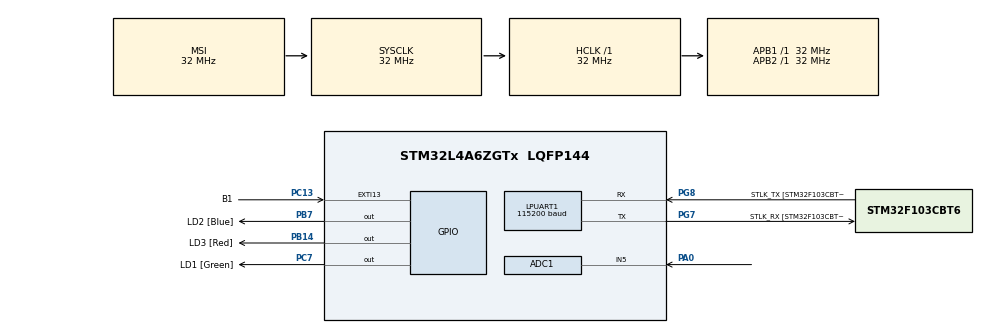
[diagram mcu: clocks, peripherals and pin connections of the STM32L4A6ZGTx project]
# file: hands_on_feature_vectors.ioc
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ADC1.Channel-0\#ChannelRegularConversion=ADC_CHANNEL_5
ADC1.DMAContinuousRequests=ENABLE
ADC1.ExternalTrigConv=ADC_EXTERNALTRIG_T3_TRGO
ADC1.NbrOfConversionFlag=1
ADC1.OffsetNumber-0\#ChannelRegularConversion=ADC_OFFSET_NONE
ADC1.Rank-0\#ChannelRegularConversion=1
ADC1.SamplingTime-0\#ChannelRegularConversion=ADC_SAMPLETIME_2CYCLES_5
ADC1.master=1
Dma.ADC1.0.Direction=DMA_PERIPH_TO_MEMORY
Dma.ADC1.0.Instance=DMA1_Channel1
Dma.ADC1.0.MemDataAlignment=DMA_MDATAALIGN_HALFWORD
Dma.ADC1.0.MemInc=DMA_MINC_ENABLE
Dma.ADC1.0.Mode=DMA_CIRCULAR
Dma.ADC1.0.PeriphDataAlignment=DMA_PDATAALIGN_HALFWORD
Dma.ADC1.0.PeriphInc=DMA_PINC_DISABLE
Dma.ADC1.0.Priority=DMA_PRIORITY_LOW
Dma.LPUART_RX.1.Direction=DMA_PERIPH_TO_MEMORY
Dma.LPUART_RX.1.Instance=DMA2_Channel7
Dma.LPUART_RX.1.MemDataAlignment=DMA_MDATAALIGN_BYTE
Dma.LPUART_RX.1.MemInc=DMA_MINC_ENABLE
Dma.LPUART_RX.1.Mode=DMA_CIRCULAR
Dma.LPUART_RX.1.PeriphDataAlignment=DMA_PDATAALIGN_BYTE
Dma.LPUART_RX.1.PeriphInc=DMA_PINC_DISABLE
Dma.LPUART_RX.1.Priority=DMA_PRIORITY_LOW
Dma.LPUART_TX.2.Direction=DMA_MEMORY_TO_PERIPH
Dma.LPUART_TX.2.Instance=DMA2_Channel6
Dma.LPUART_TX.2.MemDataAlignment=DMA_MDATAALIGN_BYTE
Dma.LPUART_TX.2.MemInc=DMA_MINC_ENABLE
Dma.LPUART_TX.2.Mode=DMA_NORMAL
Dma.LPUART_TX.2.PeriphDataAlignment=DMA_PDATAALIGN_BYTE
Dma.LPUART_TX.2.PeriphInc=DMA_PINC_DISABLE
Dma.LPUART_TX.2.Priority=DMA_PRIORITY_LOW
Dma.Request0=ADC1
Dma.Request1=LPUART_RX
Dma.Request2=LPUART_TX
LPUART1.AutoBaudRateEnableParam=UART_ADVFEATURE_AUTOBAUDRATE_DISABLE
LPUART1.BaudRate=115200
LPUART1.DMADisableonRxErrorParam=UART_ADVFEATURE_DMA_ENABLEONRXERROR
LPUART1.DataInvertParam=UART_ADVFEATURE_DATAINV_DISABLE
LPUART1.MSBFirstParam=UART_ADVFEATURE_MSBFIRST_DISABLE
LPUART1.Mode=UART_MODE_TX_RX
LPUART1.OneBitSampling=UART_ONE_BIT_SAMPLE_DISABLE
LPUART1.OverrunDisableParam=UART_ADVFEATURE_OVERRUN_ENABLE
LPUART1.Parity=UART_PARITY_NONE
LPUART1.RxPinLevelInvertParam=UART_ADVFEATURE_RXINV_DISABLE
LPUART1.StopBits=UART_STOPBITS_1
LPUART1.SwapParam=UART_ADVFEATURE_SWAP_DISABLE
LPUART1.TxPinLevelInvertParam=UART_ADVFEATURE_TXINV_DISABLE
LPUART1.WordLength=UART_WORDLENGTH_8B
Mcu.Family=STM32L4
Mcu.Name=STM32L4A6ZGTx
Mcu.Package=LQFP144
NVIC.DMA1_Channel1_IRQn=true\:0\:0\:false\:false\:true\:false\:true\:true
NVIC.DMA2_Channel6_IRQn=true\:0\:0\:false\:false\:true\:false\:true\:true
NVIC.DMA2_Channel7_IRQn=true\:0\:0\:false\:false\:true\:false\:true\:true
NVIC.EXTI15_10_IRQn=true\:0\:0\:false\:false\:true\:true\:true\:true
NVIC.PriorityGroup=NVIC_PRIORITYGROUP_4
PA0.Signal=ADCx_IN5
PA13\ (JTMS/SWDIO).GPIO_Label=TMS
PA13\ (JTMS/SWDIO).Mode=Trace_Asynchronous_SW
PA13\ (JTMS/SWDIO).Signal=SYS_JTMS-SWDIO
PA14\ (JTCK/SWCLK).GPIO_Label=TCK
PA14\ (JTCK/SWCLK).Mode=Trace_Asynchronous_SW
PA14\ (JTCK/SWCLK).Signal=SYS_JTCK-SWCLK
PB14.GPIO_Label=LD3 [Red]
PB14.Signal=GPIO_Output
PB3\ (JTDO/TRACESWO).GPIO_Label=SWO
PB3\ (JTDO/TRACESWO).Mode=Trace_Asynchronous_SW
PB3\ (JTDO/TRACESWO).Signal=SYS_JTDO-SWO
PB7.GPIO_Label=LD2 [Blue]
PB7.Signal=GPIO_Output
PC13.GPIO_Label=B1
PC13.Signal=GPXTI13
PC14-OSC32_IN\ (PC14).Mode=LSE-External-Oscillator
PC14-OSC32_IN\ (PC14).Signal=RCC_OSC32_IN
PC15-OSC32_OUT\ (PC15).Mode=LSE-External-Oscillator
PC15-OSC32_OUT\ (PC15).Signal=RCC_OSC32_OUT
PC7.GPIO_Label=LD1 [Green]
PC7.Signal=GPIO_Output
PG7.GPIO_Label=STLK_RX [STM32F103CBT6_PA3]
PG7.Mode=Asynchronous
PG7.Signal=LPUART1_TX
PG8.GPIO_Label=STLK_TX [STM32F103CBT6_PA2]
PG8.Mode=Asynchronous
PG8.Signal=LPUART1_RX
PH1-OSC_OUT\ (PH1).Signal=RCC_OSC_OUT
ProjectManager.HeapSize=0x200
ProjectManager.StackSize=0x400
ProjectManager.TargetToolchain=STM32CubeIDE
RCC.ADCCLockSelection=RCC_ADCCLKSOURCE_SYSCLK
RCC.ADCFreq_Value=32000000
RCC.AHBFreq_Value=32000000
RCC.APB1Freq_Value=32000000
RCC.APB1TimFreq_Value=32000000
RCC.APB2Freq_Value=32000000
RCC.APB2TimFreq_Value=32000000
RCC.CortexFreq_Value=32000000
RCC.FLatency=FLASH_LATENCY_1
RCC.HCLKFreq_Value=32000000
RCC.HSE_VALUE=8000000
RCC.HSI48_VALUE=48000000
RCC.HSI_VALUE=16000000
RCC.MSIClockRange=RCC_MSIRANGE_10
RCC.MSI_VALUE=32000000
RCC.PLLN=71
RCC.PLLR=RCC_PLLR_DIV6
RCC.PLLSAI1N=24
RCC.SYSCLKFreq_VALUE=32000000
RCC.USBFreq_Value=384000000
RCC.VCOOutputFreq_Value=2272000000
SH.ADCx_IN5.0=ADC1_IN5,IN5-Single-Ended
TIM3.AutoReloadPreload=TIM_AUTORELOAD_PRELOAD_DISABLE
TIM3.Period=195
TIM3.Prescaler=15
TIM3.TIM_MasterOutputTrigger=TIM_TRGO_UPDATE
VP_TIM3_VS_ClockSourceINT.Mode=Internal
board=NUCLEO-L4A6ZG

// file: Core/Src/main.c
/* USER CODE BEGIN Header */
/**
  ******************************************************************************
  * @file           : main.c
  * @brief          : Main program body
  ******************************************************************************
  * @attention
  *
  * <h2><center>&copy; Copyright (c) 2021 STMicroelectronics.
  * All rights reserved.</center></h2>
  *
  * This software component is licensed by ST under BSD 3-Clause license,
  * the "License"; You may not use this file except in compliance with the
  * License. You may obtain a copy of the License at:
  *                        opensource.org/licenses/BSD-3-Clause
  *
  ******************************************************************************
  */
/* USER CODE END Header */
#include "main.h"
#include "adc.h"
#include "dma.h"
#include "usart.h"
#include "tim.h"
#include "gpio.h"

/* USER CODE BEGIN Includes */
#include <stdio.h>
#include "retarget.h"
#include "config.h"
#include "arm_math.h"
#include "spectrogram.h"
/* USER CODE END Includes */

/* USER CODE BEGIN PM */
#define DEBUG 0
#define DEBUG_PRINT(...) do{ if (DEBUG) printf(__VA_ARGS__ ); } while( 0 )
/* USER CODE END PM */

/* USER CODE BEGIN PV */
volatile uint8_t counting_cycles = 0;

volatile int state = 0;
volatile int bounce = 0;
volatile uint16_t ADCBuffer[2*SAMPLES_PER_MELVEC]; /* ADC write buffer (via DMA) */
volatile uint16_t* ADCDblBuffer[2] = {&ADCBuffer[0], &ADCBuffer[SAMPLES_PER_MELVEC]};

//START UART VARIABLES

uint16_t UARTBuffer[2 * SAMPLES_PER_MELVEC];

uint16_t* UARTDblBuffer[2] = {
    &UARTBuffer[0],
    &UARTBuffer[SAMPLES_PER_MELVEC]
};
//uint16_t safe_copy_1[SAMPLES_PER_MELVEC+1];
//uint16_t safe_copy_2[SAMPLES_PER_MELVEC+1];
uint16_t safe_copy[SAMPLES_PER_MELVEC*N_MELVECS];
//END UART VARIABLES

static volatile uint8_t cur_melvec = 0;
static volatile uint8_t cur_melvec_UART = 0;
static volatile uint8_t write_counter=0;
static volatile uint8_t buffer_locked=0;
//static volatile u_int8_t half_flag=0;
static volatile u_int8_t full_flag=0;
static q15_t *mel_vectors[N_MELVECS];
// Contiguous array in memory
static q15_t mel_vectors_flat[N_MELVECS * MELVEC_LENGTH];

//char hex_encoded_buffer[sizeof(q15_t) * 2 * N_MELVECS * MELVEC_LENGTH + 1];
char hex_encoded_buffer[2 * sizeof(uint16_t) * SAMPLES_PER_MELVEC * N_MELVECS + 1];
/* USER CODE END PV */

void SystemClock_Config(void);
/* USER CODE BEGIN PFP */
void hex_encode(char* s, const uint8_t* buf, size_t len);
void print_buffer(volatile uint16_t *buffer, size_t len);
uint32_t get_signal_power(uint16_t *buffer, size_t len);
void start_cycle_count();
void stop_cycle_count(char *s);

/* USER CODE END PFP */

/* USER CODE BEGIN 0 */
void HAL_GPIO_EXTI_Callback(uint16_t GPIO_Pin) {
	if ((GPIO_Pin == B1_Pin) & !bounce) {
		HAL_ADC_Start_DMA(&hadc1, (uint32_t *) ADCBuffer, 2 * SAMPLES_PER_MELVEC);
		HAL_TIM_Base_Start(&htim3);
		bounce = 1;
	}
}

void HAL_ADC_ConvHalfCpltCallback(ADC_HandleTypeDef *hadc) {
	Spectrogram_Format((q15_t *)ADCDblBuffer[0]);
	Spectrogram_Compute((q15_t *)ADCDblBuffer[0], mel_vectors[cur_melvec]);
	cur_melvec++;
	DEBUG_PRINT("Half DMA.\r\n");
}

void HAL_ADC_ConvCpltCallback(ADC_HandleTypeDef *hadc) {
	Spectrogram_Format((q15_t *)ADCDblBuffer[1]);
	Spectrogram_Compute((q15_t *)ADCDblBuffer[1], mel_vectors[cur_melvec]);
	cur_melvec++;
	if (cur_melvec == N_MELVECS)
	{
		HAL_TIM_Base_Stop(&htim3);
		HAL_ADC_Stop_DMA(&hadc1);
		print_buffer(mel_vectors_flat, N_MELVECS * MELVEC_LENGTH);
		cur_melvec = 0;
	}
	bounce = 0;
	DEBUG_PRINT("All DMA.\r\n");
}

//START UART CODE

void HAL_UART_RxHalfCpltCallback(UART_HandleTypeDef *huart)
{
	if(huart->Instance == LPUART1)
	{
    Spectrogram_Format((q15_t*)UARTDblBuffer[0]);
    //Spectrogram_Compute((q15_t*)UARTDblBuffer[0], mel_vectors_flat[cur_melvec_UART]);
    if (!buffer_locked && cur_melvec_UART<N_MELVECS){
    	memcpy(&safe_copy[cur_melvec_UART*SAMPLES_PER_MELVEC],UARTDblBuffer[0],SAMPLES_PER_MELVEC*sizeof(uint16_t));
    	//memcpy(&safe_copy[cur_melvec_UART*SAMPLES_PER_MELVEC],mel_vectors_flat[cur_melvec_UART],SAMPLES_PER_MELVEC*sizeof(uint16_t));
    	cur_melvec_UART++;
    }

	}
}

void HAL_UART_RxCpltCallback(UART_HandleTypeDef *huart)
{	if(huart->Instance == LPUART1){
	Spectrogram_Format((q15_t*)UARTDblBuffer[1]);
	//Spectrogram_Compute((q15_t*)UARTDblBuffer[1], mel_vectors[cur_melvec_UART]);
	//Spectrogram_Compute((q15_t*)UARTDblBuffer[1], mel_vectors_flat[cur_melvec_UART]);
	if (!buffer_locked && cur_melvec_UART<N_MELVECS){

		memcpy(&safe_copy[cur_melvec_UART*SAMPLES_PER_MELVEC],UARTDblBuffer[1],SAMPLES_PER_MELVEC*sizeof(uint16_t));
		//memcpy(&safe_copy[cur_melvec_UART*SAMPLES_PER_MELVEC],mel_vectors_flat[cur_melvec_UART],SAMPLES_PER_MELVEC*sizeof(uint16_t));
		cur_melvec_UART++;
	}

    if (cur_melvec_UART == N_MELVECS)
            {
                //print_buffer(mel_vectors_flat, N_MELVECS * MELVEC_LENGTH);
                buffer_locked=1;
                full_flag=1;
            }

	}
}

//END UART CODE

// Starts the cycle counter
void start_cycle_count() {
	uint32_t prim = __get_PRIMASK();
	__disable_irq();
	if (counting_cycles) {
		DEBUG_PRINT("Tried re-entrant cycle counting.\r\n");
		Error_Handler();
	} else {
		counting_cycles = 1;
	}
	if (!prim) {
		__enable_irq();
	}
	DWT->CTRL |= 1 ; // Enable the cycle counter
	DWT->CYCCNT = 0; // Reset the cycle counter
}

// Stop the cycle counter
// char *s allows to print a header (title of the measured block) before reporting the number of cycles
void stop_cycle_count(char *s) {
	uint32_t res = DWT->CYCCNT; // Read the cycle counter
	counting_cycles = 0;
	//printf("[PERF] ");
	//printf(s);
	//printf(" %lu cycles.\r\n", res);
}

void hex_encode(char* s, const uint8_t* buf, size_t len) {
  s[2*len] = '\0'; // A string terminated by a zero char.
  for (size_t i=0; i<len; i++) {
      s[i*2  ] = "0123456789abcdef"[buf[i] >> 4];
      s[i*2+1] = "0123456789abcdef"[buf[i] & 0xF];
  }
}

void print_buffer(volatile uint16_t *buffer, size_t len) {
	hex_encode(hex_encoded_buffer, (uint8_t*)buffer, sizeof(uint16_t) * len);
	//printf("DF:HEX:%s\r\n", hex_encoded_buffer);
	printf("After Format%s\r\n",hex_encoded_buffer);
}

/* USER CODE END 0 */

int main(void)
{

  /* MCU Configuration--------------------------------------------------------*/

  /* Reset of all peripherals, Initializes the Flash interface and the Systick. */
  HAL_Init();

  /* USER CODE BEGIN Init */
  // Reshape the contiguous memory array in a 2D array.
  for (int i = 0; i < N_MELVECS; i++)
  {
	  mel_vectors[i] = &mel_vectors_flat[i*MELVEC_LENGTH];
  }
  /* USER CODE END Init */

  /* Configure the system clock */
  SystemClock_Config();

  /* Initialize all configured peripherals */
  MX_GPIO_Init();
  MX_DMA_Init();
  MX_LPUART1_UART_Init();
  MX_TIM3_Init();
  MX_ADC1_Init();
  /* USER CODE BEGIN 2 */
  HAL_UART_Receive_DMA(&hlpuart1,
                       (uint8_t*)UARTBuffer,
                       sizeof(UARTBuffer));
  RetargetInit(&hlpuart1);
  printf("Hello world!\r\n");
  state=0;
  /* USER CODE END 2 */

  /* Infinite loop */
  /* USER CODE BEGIN WHILE */
  while (1)
  {
	HAL_GPIO_WritePin(LD1_GPIO_Port, LD1_Pin, GPIO_PIN_SET);
	HAL_Delay(500);
	HAL_GPIO_WritePin(LD1_GPIO_Port, LD1_Pin, GPIO_PIN_RESET);
	HAL_Delay(500);
	/*
	if (half_flag){
		memcpy(&safe_copy_1[1],
				               UARTDblBuffer[0],
				               sizeof(uint16_t)*SAMPLES_PER_MELVEC);
		safe_copy_1[0]=(uint16_t) cur_melvec_2;
		//printf("After format");
		cur_melvec_2=cur_melvec_2+2;
		print_buffer(safe_copy_1,SAMPLES_PER_MELVEC+1);
		half_flag=0;
	}
	*/
	if(full_flag){

		print_buffer(safe_copy,SAMPLES_PER_MELVEC*N_MELVECS);
		cur_melvec_UART = 0;
		buffer_locked = 0; //allow writing again
		full_flag=0;
	}
    /* USER CODE END WHILE */

  }
}

void SystemClock_Config(void)
{
  RCC_OscInitTypeDef RCC_OscInitStruct = {0};
  RCC_ClkInitTypeDef RCC_ClkInitStruct = {0};

  /** Configure the main internal regulator output voltage
  */
  if (HAL_PWREx_ControlVoltageScaling(PWR_REGULATOR_VOLTAGE_SCALE1) != HAL_OK)
  {
    Error_Handler();
  }

  /** Initializes the RCC Oscillators according to the specified parameters
  * in the RCC_OscInitTypeDef structure.
  */
  RCC_OscInitStruct.OscillatorType = RCC_OSCILLATORTYPE_MSI;
  RCC_OscInitStruct.MSIState = RCC_MSI_ON;
  RCC_OscInitStruct.MSICalibrationValue = 0;
  RCC_OscInitStruct.MSIClockRange = RCC_MSIRANGE_10;
  RCC_OscInitStruct.PLL.PLLState = RCC_PLL_NONE;
  if (HAL_RCC_OscConfig(&RCC_OscInitStruct) != HAL_OK)
  {
    Error_Handler();
  }

  /** Initializes the CPU, AHB and APB buses clocks
  */
  RCC_ClkInitStruct.ClockType = RCC_CLOCKTYPE_HCLK|RCC_CLOCKTYPE_SYSCLK
                              |RCC_CLOCKTYPE_PCLK1|RCC_CLOCKTYPE_PCLK2;
  RCC_ClkInitStruct.SYSCLKSource = RCC_SYSCLKSOURCE_MSI;
  RCC_ClkInitStruct.AHBCLKDivider = RCC_SYSCLK_DIV1;
  RCC_ClkInitStruct.APB1CLKDivider = RCC_HCLK_DIV1;
  RCC_ClkInitStruct.APB2CLKDivider = RCC_HCLK_DIV1;

  if (HAL_RCC_ClockConfig(&RCC_ClkInitStruct, FLASH_LATENCY_1) != HAL_OK)
  {
    Error_Handler();
  }
}

void Error_Handler(void)
{
  __disable_irq();
  while (1)
  {
  }
}
